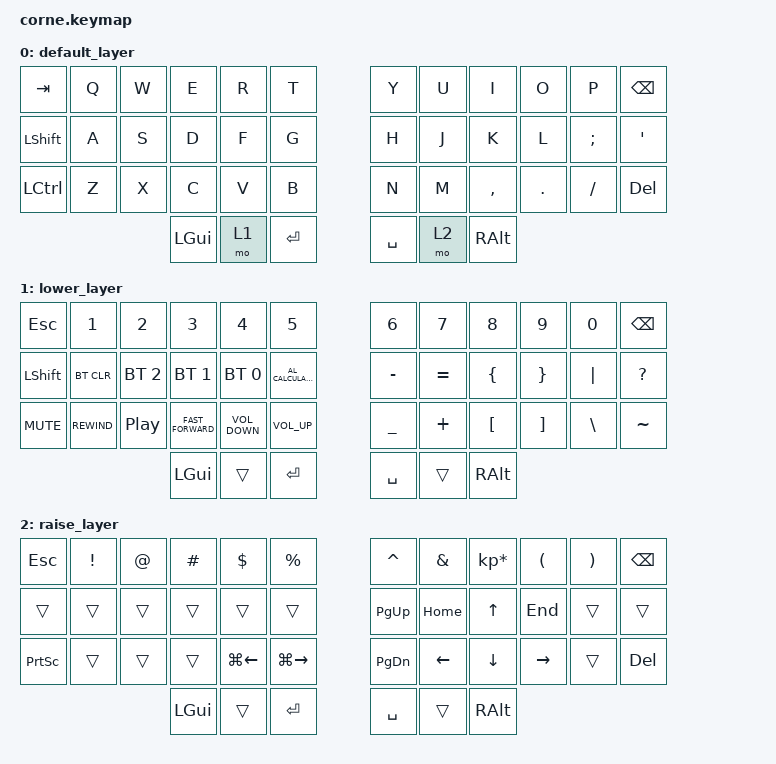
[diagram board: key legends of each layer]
/*
 * Copyright (c) 2020 The ZMK Contributors
 *
 * SPDX-License-Identifier: MIT
 */

#include <behaviors.dtsi>
#include <dt-bindings/zmk/bt.h>
#include <dt-bindings/zmk/keys.h>

/ {
    combos {
        compatible = "zmk,combos";
    };

    keymap {
        compatible = "zmk,keymap";

        default_layer {
            // -----------------------------------------------------------------------------------------
            // |  TAB |  Q  |  W  |  E  |  R  |  T  |   |  Y  |  U   |  I  |  O  |  P  | BKSP |
            // | CTRL |  A  |  S  |  D  |  F  |  G  |   |  H  |  J   |  K  |  L  |  ;  |  '   |
            // | SHFT |  Z  |  X  |  C  |  V  |  B  |   |  N  |  M   |  ,  |  .  |  /  | ESC  |
            //                    | GUI | LWR | SPC |   | ENT | RSE  | ALT |

            bindings = <
         &kp TAB  &kp Q  &kp W     &kp E  &kp R      &kp T        &kp Y  &kp U      &kp I    &kp O     &kp P    &kp BSPC
  &kp LEFT_SHIFT  &kp A  &kp S     &kp D  &kp F      &kp G        &kp H  &kp J      &kp K    &kp L  &kp SEMI     &kp SQT
&kp LEFT_CONTROL  &kp Z  &kp X     &kp C  &kp V      &kp B        &kp N  &kp M  &kp COMMA  &kp DOT  &kp FSLH  &kp DELETE
                                &kp LGUI  &mo 1  &kp ENTER    &kp SPACE  &mo 2   &kp RALT
            >;
        };

        lower_layer {
            // -----------------------------------------------------------------------------------------
            // |  TAB |  1  |  2  |  3  |  4  |  5  |   |  6  |  7  |  8  |  9  |  0  | BKSP |
            // | BTCLR| BT1 | BT2 | BT3 | BT4 | BT5 |   | LFT | DWN |  UP | RGT |     |      |
            // | SHFT |     |     |     |     |     |   |     |     |     |     |     |      |
            //                    | GUI |     | SPC |   | ENT |     | ALT |

            bindings = <
&kp ESCAPE        &kp N1            &kp N2              &kp N3             &kp N4               &kp N5            &kp N6     &kp N7            &kp N8             &kp N9         &kp N0      &kp BSPC
&kp LSHIFT    &bt BT_CLR      &bt BT_SEL 2        &bt BT_SEL 1       &bt BT_SEL 0  &kp C_AL_CALCULATOR         &kp MINUS  &kp EQUAL    &kp LEFT_BRACE    &kp RIGHT_BRACE       &kp PIPE  &kp QUESTION
&kp C_MUTE  &kp C_REWIND  &kp C_PLAY_PAUSE  &kp C_FAST_FORWARD  &kp C_VOLUME_DOWN      &kp C_VOLUME_UP    &kp UNDERSCORE   &kp PLUS  &kp LEFT_BRACKET  &kp RIGHT_BRACKET  &kp BACKSLASH     &kp TILDE
                                                      &kp LGUI             &trans           &kp RETURN         &kp SPACE     &trans          &kp RALT
            >;
        };

        raise_layer {
            // -----------------------------------------------------------------------------------------
            // |  TAB |  !  |  @  |  #  |  $  |  %  |   |  ^  |  &  |  *  |  (  |  )  | BKSP |
            // | CTRL |     |     |     |     |     |   |  -  |  =  |  [  |  ]  |  \  |  `   |
            // | SHFT |     |     |     |     |     |   |  _  |  +  |  {  |  }  | "|" |  ~   |
            //                    | GUI |     | SPC |   | ENT |     | ALT |

            bindings = <
     &kp ESCAPE  &kp EXCL  &kp AT  &kp HASH            &kp DLLR            &kp PRCNT        &kp CARET        &kp AMPS  &kp KP_MULTIPLY         &kp LPAR  &kp RPAR    &kp BSPC
         &trans    &trans  &trans    &trans              &trans               &trans      &kp PAGE_UP        &kp HOME     &kp UP_ARROW          &kp END    &trans      &trans
&kp PRINTSCREEN    &trans  &trans    &trans  &kp LG(LEFT_ARROW)  &kp LG(RIGHT_ARROW)    &kp PAGE_DOWN  &kp LEFT_ARROW   &kp DOWN_ARROW  &kp RIGHT_ARROW    &trans  &kp DELETE
                                   &kp LGUI              &trans           &kp RETURN        &kp SPACE          &trans         &kp RALT
            >;
        };
    };
};
